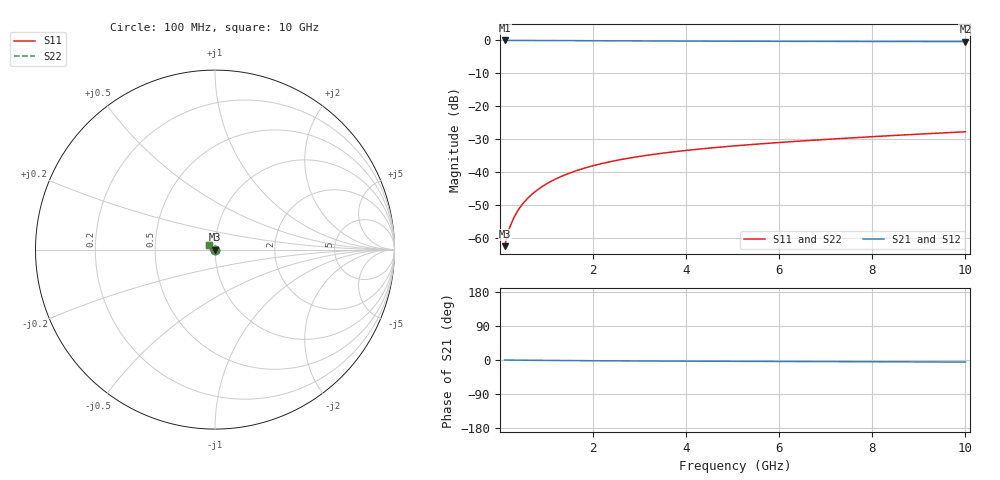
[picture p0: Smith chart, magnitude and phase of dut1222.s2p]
! Touchstone file exported from HFSS 2024.1.0
!  File:  C:/UserFiles/LocalFiles/RDL_TSV_Batchsim/temp_TSV1_1222_1780249516.aedt
!  Generated:  01:52:03 AM Jun  1, 2026
!  Design:  TSV1
!  Project:  temp_TSV1_1222_1780249516
!  Setup:  Setup1
!  Solution:  Sweep
! Variables:
!  dtsv = 6.61um
!  hbump = 3um
!  htsv = 79.1um
!  lrdl = 252.1521522um
!  p = 40
!  p1 = 54.9um
!  t = 500um
!  trdl = 3um
!  wrdl = 24.89489489um
# GHz S MA R 50.000000
! Terminal data exported
! Port[1] = TSV22_T1
! Port[2] = TSV22_T2
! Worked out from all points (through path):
!   100 points, 100 MHz to 10 GHz, reference 50 ohm
!   highest |S21| = 0.00 dB at 100 MHz (marker M1); lowest = -0.3 dB at 10 GHz (marker M2)
!   lowest |S11| = -62.5 dB at 100 MHz (marker M3), VSWR 1.00, Z = 50 - j0.0685 ohm
!   |S11| at or under -10 dB: start of sweep to end of sweep
!   |S22| runs from -62.5 to -27.8 dB; largest |S21 - S12| = 3.1e-15
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0.1  0.0007456 -66.6  0.9996 -0.1  0.9996 -0.1  0.0007456 -66.6
! Gamma 0 0 0 0
! Port Impedance 50 0 50 0
0.2  0.00138 -81.2  0.9996 -0.2  0.9996 -0.2  0.00138 -81.2
0.3  0.002037 -88.0  0.9994 -0.3  0.9994 -0.3  0.002037 -88.0
0.4  0.002698 -92.6  0.9992 -0.4  0.9992 -0.4  0.002698 -92.6
0.5  0.003359 -96.3  0.9989 -0.5  0.9989 -0.5  0.003359 -96.3
0.6  0.004018 -99.6  0.9986 -0.6  0.9986 -0.6  0.004018 -99.6
0.7  0.004672 -102.5  0.9983 -0.7  0.9983 -0.7  0.004672 -102.5
0.8  0.005322 -105.3  0.9978 -0.8  0.9978 -0.8  0.005322 -105.3
0.9  0.005965 -107.9  0.9974 -0.9  0.9974 -0.9  0.005965 -107.9
1.1  0.00723 -112.9  0.9964 -1.1  0.9964 -1.1  0.00723 -112.9
1.4  0.009061 -119.8  0.9947 -1.4  0.9947 -1.4  0.009061 -119.8
1.6  0.01023 -124.2  0.9934 -1.6  0.9934 -1.6  0.01023 -124.2
1.8  0.01136 -128.4  0.9921 -1.7  0.9921 -1.7  0.01136 -128.4
2.1  0.01297 -134.5  0.99 -2.0  0.99 -2.0  0.01297 -134.5
2.5  0.01497 -142.0  0.9873 -2.2  0.9873 -2.2  0.01497 -142.0
2.9  0.01682 -149.0  0.9846 -2.5  0.9846 -2.5  0.01682 -149.0
3.4  0.01894 -157.0  0.9814 -2.8  0.9814 -2.8  0.01894 -157.0
4.2  0.02201 -168.3  0.977 -3.1  0.977 -3.1  0.02201 -168.3
5.1  0.02513 -179.1  0.973 -3.5  0.973 -3.5  0.02513 -179.1
6.7  0.03031 165.5  0.9679 -4.1  0.9679 -4.1  0.03031 165.5
8.4  0.0357 153.1  0.9643 -4.8  0.9643 -4.8  0.0357 153.1
10  0.04088 144.0  0.9619 -5.4  0.9619 -5.4  0.04088 144.0
